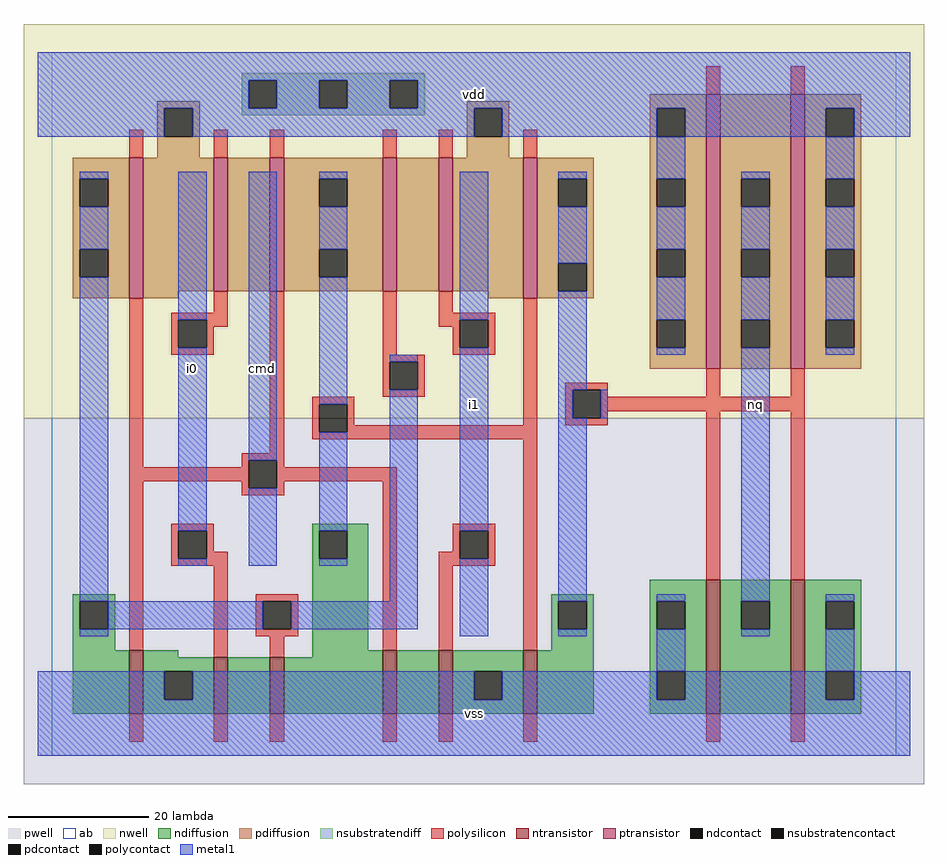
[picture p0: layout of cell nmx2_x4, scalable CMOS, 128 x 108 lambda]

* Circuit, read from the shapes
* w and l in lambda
.subckt nmx2_x4 cmd i0 i1 nq vdd vss
M1 vss cmd n1 VSUBS nfet w=9 l=2
M2 n2 i0 vss VSUBS nfet w=8 l=2
M3 n3 n1 n2 VSUBS nfet w=8 l=2
M4 n4 cmd n3 VSUBS nfet w=9 l=2
M5 vss i1 n4 VSUBS nfet w=9 l=2
M6 n5 n3 vss VSUBS nfet w=9 l=2
M7 nq n5 vss VSUBS nfet w=19 l=2 m=2
M8 vdd cmd n1 vdd pfet w=20 l=2
M9 n6 i0 vdd vdd pfet w=19 l=2
M10 n3 cmd n6 vdd pfet w=19 l=2
M11 n7 n1 n3 vdd pfet w=19 l=2
M12 vdd i1 n7 vdd pfet w=19 l=2
M13 n5 n3 vdd vdd pfet w=20 l=2
M14 nq n5 vdd vdd pfet w=39 l=2 m=2
.ends

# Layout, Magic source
magic
tech scmos
<< ab >>
rect 0 0 120 100
<< pwell >>
rect -4 -4 124 48
<< nwell >>
rect -4 48 124 104
<< polysilicon >>
rect 11 85 13 89
rect 93 94 95 98
rect 105 94 107 98
rect 23 85 25 89
rect 31 85 33 89
rect 47 85 49 89
rect 55 85 57 89
rect 67 85 69 89
rect 11 41 13 65
rect 23 63 25 66
rect 17 62 25 63
rect 17 58 18 62
rect 22 61 25 62
rect 22 58 23 61
rect 17 57 23 58
rect 31 43 33 66
rect 47 57 49 66
rect 55 63 57 66
rect 55 62 63 63
rect 55 61 58 62
rect 57 58 58 61
rect 62 58 63 62
rect 57 57 63 58
rect 47 56 53 57
rect 47 52 48 56
rect 52 52 53 56
rect 47 51 53 52
rect 37 50 43 51
rect 37 46 38 50
rect 42 47 43 50
rect 67 47 69 65
rect 73 52 79 53
rect 73 48 74 52
rect 78 51 79 52
rect 93 51 95 55
rect 105 51 107 55
rect 78 49 107 51
rect 78 48 79 49
rect 73 47 79 48
rect 42 46 69 47
rect 37 45 69 46
rect 27 42 33 43
rect 27 41 28 42
rect 11 39 28 41
rect 11 15 13 39
rect 27 38 28 39
rect 32 41 33 42
rect 32 39 49 41
rect 32 38 33 39
rect 27 37 33 38
rect 17 32 23 33
rect 17 28 18 32
rect 22 29 23 32
rect 22 28 25 29
rect 17 27 25 28
rect 23 14 25 27
rect 29 22 35 23
rect 29 18 30 22
rect 34 18 35 22
rect 29 17 35 18
rect 31 14 33 17
rect 47 15 49 39
rect 57 32 63 33
rect 57 29 58 32
rect 55 28 58 29
rect 62 28 63 32
rect 55 27 63 28
rect 55 15 57 27
rect 67 15 69 45
rect 93 25 95 49
rect 105 25 107 49
rect 11 2 13 6
rect 23 2 25 6
rect 31 2 33 6
rect 47 2 49 6
rect 55 2 57 6
rect 67 2 69 6
rect 93 2 95 6
rect 105 2 107 6
<< ndiffusion >>
rect 3 22 9 23
rect 3 18 4 22
rect 8 18 9 22
rect 3 15 9 18
rect 37 32 45 33
rect 3 6 11 15
rect 13 14 18 15
rect 37 28 38 32
rect 42 28 45 32
rect 37 15 45 28
rect 71 22 77 23
rect 71 18 72 22
rect 76 18 77 22
rect 71 15 77 18
rect 37 14 47 15
rect 13 12 23 14
rect 13 8 16 12
rect 20 8 23 12
rect 13 6 23 8
rect 25 6 31 14
rect 33 6 47 14
rect 49 6 55 15
rect 57 12 67 15
rect 57 8 60 12
rect 64 8 67 12
rect 57 6 67 8
rect 69 6 77 15
rect 85 22 93 25
rect 85 18 86 22
rect 90 18 93 22
rect 85 12 93 18
rect 85 8 86 12
rect 90 8 93 12
rect 85 6 93 8
rect 95 22 105 25
rect 95 18 98 22
rect 102 18 105 22
rect 95 6 105 18
rect 107 22 115 25
rect 107 18 110 22
rect 114 18 115 22
rect 107 12 115 18
rect 107 8 110 12
rect 114 8 115 12
rect 107 6 115 8
<< pdiffusion >>
rect 15 92 21 93
rect 15 88 16 92
rect 20 88 21 92
rect 59 92 65 93
rect 15 85 21 88
rect 59 88 60 92
rect 64 88 65 92
rect 85 92 93 94
rect 59 85 65 88
rect 85 88 86 92
rect 90 88 93 92
rect 3 82 11 85
rect 3 78 4 82
rect 8 78 11 82
rect 3 72 11 78
rect 3 68 4 72
rect 8 68 11 72
rect 3 65 11 68
rect 13 66 23 85
rect 25 66 31 85
rect 33 82 47 85
rect 33 78 38 82
rect 42 78 47 82
rect 33 72 47 78
rect 33 68 38 72
rect 42 68 47 72
rect 33 66 47 68
rect 49 66 55 85
rect 57 66 67 85
rect 13 65 18 66
rect 62 65 67 66
rect 69 82 77 85
rect 69 78 72 82
rect 76 78 77 82
rect 69 70 77 78
rect 69 66 72 70
rect 76 66 77 70
rect 69 65 77 66
rect 85 82 93 88
rect 85 78 86 82
rect 90 78 93 82
rect 85 72 93 78
rect 85 68 86 72
rect 90 68 93 72
rect 85 62 93 68
rect 85 58 86 62
rect 90 58 93 62
rect 85 55 93 58
rect 95 82 105 94
rect 95 78 98 82
rect 102 78 105 82
rect 95 72 105 78
rect 95 68 98 72
rect 102 68 105 72
rect 95 62 105 68
rect 95 58 98 62
rect 102 58 105 62
rect 95 55 105 58
rect 107 92 115 94
rect 107 88 110 92
rect 114 88 115 92
rect 107 82 115 88
rect 107 78 110 82
rect 114 78 115 82
rect 107 72 115 78
rect 107 68 110 72
rect 114 68 115 72
rect 107 62 115 68
rect 107 58 110 62
rect 114 58 115 62
rect 107 55 115 58
<< metal1 >>
rect -2 96 122 100
rect -2 92 28 96
rect 32 92 38 96
rect 42 92 48 96
rect 52 92 122 96
rect -2 88 16 92
rect 20 88 60 92
rect 64 88 86 92
rect 90 88 110 92
rect 114 88 122 92
rect 4 82 8 83
rect 4 72 8 78
rect 4 22 8 68
rect 18 62 22 83
rect 18 32 22 58
rect 18 27 22 28
rect 28 42 32 83
rect 28 27 32 38
rect 38 82 42 83
rect 38 72 42 78
rect 38 50 42 68
rect 58 62 62 83
rect 38 32 42 46
rect 38 27 42 28
rect 48 56 52 57
rect 48 22 52 52
rect 8 18 30 22
rect 34 18 52 22
rect 58 32 62 58
rect 4 17 8 18
rect 58 17 62 28
rect 72 82 76 83
rect 72 70 76 78
rect 72 52 76 66
rect 86 82 90 88
rect 86 72 90 78
rect 86 62 90 68
rect 86 57 90 58
rect 98 82 102 83
rect 98 72 102 78
rect 98 62 102 68
rect 72 48 74 52
rect 78 48 79 52
rect 72 22 76 48
rect 72 17 76 18
rect 86 22 90 23
rect 86 12 90 18
rect 98 22 102 58
rect 110 82 114 88
rect 110 72 114 78
rect 110 62 114 68
rect 110 57 114 58
rect 98 17 102 18
rect 110 22 114 23
rect 110 12 114 18
rect -2 8 16 12
rect 20 8 60 12
rect 64 8 86 12
rect 90 8 110 12
rect 114 8 122 12
rect -2 0 122 8
<< ntransistor >>
rect 11 6 13 15
rect 23 6 25 14
rect 31 6 33 14
rect 47 6 49 15
rect 55 6 57 15
rect 67 6 69 15
rect 93 6 95 25
rect 105 6 107 25
<< ptransistor >>
rect 11 65 13 85
rect 23 66 25 85
rect 31 66 33 85
rect 47 66 49 85
rect 55 66 57 85
rect 67 65 69 85
rect 93 55 95 94
rect 105 55 107 94
<< polycontact >>
rect 18 58 22 62
rect 58 58 62 62
rect 48 52 52 56
rect 38 46 42 50
rect 74 48 78 52
rect 28 38 32 42
rect 18 28 22 32
rect 30 18 34 22
rect 58 28 62 32
<< ndcontact >>
rect 4 18 8 22
rect 38 28 42 32
rect 72 18 76 22
rect 16 8 20 12
rect 60 8 64 12
rect 86 18 90 22
rect 86 8 90 12
rect 98 18 102 22
rect 110 18 114 22
rect 110 8 114 12
<< pdcontact >>
rect 16 88 20 92
rect 60 88 64 92
rect 86 88 90 92
rect 4 78 8 82
rect 4 68 8 72
rect 38 78 42 82
rect 38 68 42 72
rect 72 78 76 82
rect 72 66 76 70
rect 86 78 90 82
rect 86 68 90 72
rect 86 58 90 62
rect 98 78 102 82
rect 98 68 102 72
rect 98 58 102 62
rect 110 88 114 92
rect 110 78 114 82
rect 110 68 114 72
rect 110 58 114 62
<< nsubstratencontact >>
rect 28 92 32 96
rect 38 92 42 96
rect 48 92 52 96
<< nsubstratendiff >>
rect 27 96 53 97
rect 27 92 28 96
rect 32 92 38 96
rect 42 92 48 96
rect 52 92 53 96
rect 27 91 53 92
<< labels >>
rlabel metal1 20 55 20 55 6 i0
rlabel metal1 30 55 30 55 6 cmd
rlabel metal1 60 6 60 6 6 vss
rlabel metal1 60 50 60 50 6 i1
rlabel metal1 60 94 60 94 6 vdd
rlabel metal1 100 50 100 50 6 nq
<< end >>
